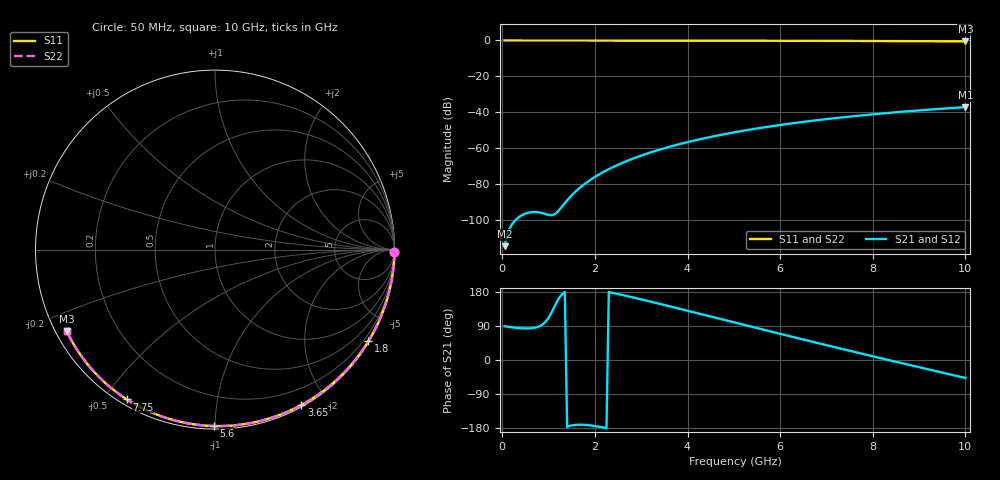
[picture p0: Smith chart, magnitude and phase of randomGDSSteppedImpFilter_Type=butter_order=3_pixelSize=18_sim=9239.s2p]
! freq	dB(S11)	phase(S11)	dB(S12)	phase(S12)
!  dB(S21)	phase(S21)	dB(S22)	phase(S22)
!S-par simulation data
#  GHz  S  DB  R 50
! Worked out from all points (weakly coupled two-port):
!   200 points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, 50 MHz to 10 GHz, reference 50 ohm
!   highest |S21| = -37.06 dB at 10 GHz (marker M1); lowest = -114.3 dB at 50 MHz (marker M2)
!   lowest |S11| = -0.5 dB at 10 GHz (marker M3), VSWR 34.09, Z = 1.56 - j12.8 ohm
!   |S11| at or under -10 dB: nowhere
!   |S22| runs from -0.5 to 0.0 dB; largest |S21 - S12| = 0
!   S11 on the Smith chart (normalised r, x): 50 MHz: open; 1.8 GHz: 0.03, -3.63; 3.65 GHz: 0.02, -1.70; 5.6 GHz: 0.02, -0.99; 7.75 GHz: 0.02, -0.57; 10 GHz: 0.03, -0.26
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0.05  -0.00 -0.9  -114.30 89.0  -114.30 89.0  -0.00 -0.9
0.45  -0.01 -7.8  -96.74 83.5  -96.74 83.5  -0.01 -7.8
0.9  -0.02 -15.6  -96.21 96.9  -96.21 96.9  -0.02 -15.6
1.3  -0.03 -22.4  -91.93 174.5  -91.93 174.5  -0.03 -22.4
1.75  -0.04 -30.0  -80.27 -171.0  -80.27 -171.0  -0.04 -30.0
1.8  -0.04 -30.8  -79.29 -171.4  -79.29 -171.4  -0.04 -30.8
1.95  -0.04 -33.3  -76.62 -173.5  -76.62 -173.5  -0.04 -33.4
2.1  -0.05 -35.8  -74.28 -176.3  -74.28 -176.3  -0.05 -35.9
2.3  -0.05 -39.2  -71.50 179.1  -71.50 179.1  -0.05 -39.2
2.5  -0.05 -42.5  -69.05 174.0  -69.05 174.0  -0.05 -42.5
2.9  -0.06 -49.0  -64.88 162.9  -64.88 162.9  -0.06 -49.0
3.4  -0.08 -57.0  -60.62 148.2  -60.62 148.2  -0.08 -57.0
3.65  -0.08 -60.9  -58.79 140.6  -58.79 140.6  -0.08 -60.9
4.3  -0.10 -71.0  -54.69 120.8  -54.69 120.8  -0.10 -71.0
5.05  -0.13 -82.3  -50.86 97.9  -50.86 97.9  -0.13 -82.3
5.6  -0.15 -90.3  -48.49 81.1  -48.49 81.1  -0.15 -90.4
6.15  -0.18 -98.2  -46.43 64.5  -46.43 64.5  -0.18 -98.3
6.7  -0.21 -106.0  -44.60 48.0  -44.60 48.0  -0.21 -106.0
7.75  -0.28 -120.5  -41.65 17.0  -41.65 17.0  -0.28 -120.5
8.35  -0.33 -128.6  -40.22 -0.4  -40.22 -0.4  -0.33 -128.7
9.2  -0.42 -140.2  -38.47 -24.8  -38.47 -24.8  -0.42 -140.2
10  -0.51 -151.2  -37.06 -47.4  -37.06 -47.4  -0.51 -151.2
